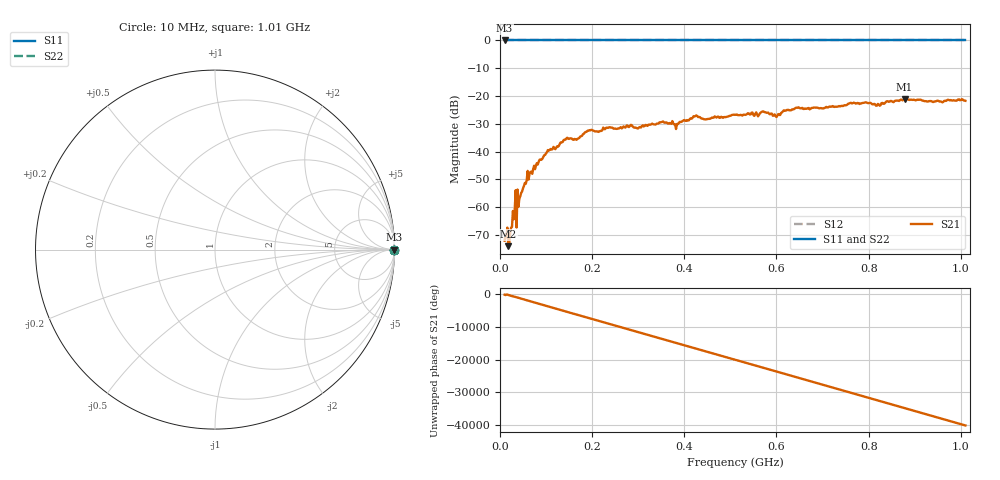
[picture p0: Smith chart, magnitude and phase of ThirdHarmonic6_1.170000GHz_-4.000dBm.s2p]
! 8/16/2025 11:49:46 AM
! C:\ANRITSUVNA\TEMP\TEMP.S2P
! CHANNEL.1
! TR.MEASUREMENT
! RAW.DATA
! RF.CORRECTION.OFF
! AVERAGING.OFF
! IF.BANDWIDTH: 5KHZ
! SWEEPTYPE:  FREQ.SWEEP(Linear)
! Reference Plane Port Info
! PORT:  PORT1  PORT2
! DISTANCE:  0  m  0  m
! TIME:  0  s  0  s
! PHASE.OFFSET:  0  deg.  0  deg.
! LOSS:  0  dB  0  dB
! REF.LOSS:  0  dB  0  dB
! REF.FREQ:  0  Hz  0  Hz
! Power Info
! POWER:  -20  dBm  -20  dBm
! EFF.POWER:  -20  dBm  -20  dBm
! SOURCE.ATTEN:  0  dB  0  dB
! TEST.ATTEN:  0  dB  0  dB
# GHZ S RI R 50.0
! FREQ.GHZ  S11RE  S11IM  S21RE  S21IM  S12RE  S12IM  S22RE  S22IM
!; PortSelection: Port_12
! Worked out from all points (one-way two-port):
!   501 points, 10 MHz to 1.01 GHz, reference 50 ohm
!   highest |S21| = -21.06 dB at 878 MHz (marker M1); lowest = -74.1 dB at 18 MHz (marker M2)
!   lowest |S11| = 0.0 dB at 10 MHz (marker M3)
!   |S11| at or under -10 dB: nowhere
!   |S22| runs from 0.0 to 0.0 dB; largest |S21 - S12| = 1.1
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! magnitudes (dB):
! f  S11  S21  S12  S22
! 10 MHz  0.0  -72.1  0.0  0.0
! 18 MHz  0.0  -74.1  0.0  0.0
! 22 MHz  0.0  -69.6  0.0  0.0
! 30 MHz  0.0  -64.4  0.0  0.0
! 40 MHz  0.0  -59.9  0.0  0.0
! 64 MHz  0.0  -48.0  0.0  0.0
! 106 MHz  0.0  -39.6  0.0  0.0
! 142 MHz  0.0  -35.7  0.0  0.0
! 178 MHz  0.0  -34.3  0.0  0.0
! 194 MHz  0.0  -32.3  0.0  0.0
! 344 MHz  0.0  -29.9  0.0  0.0
! 382 MHz  0.0  -31.9  0.0  0.0
! 424 MHz  0.0  -27.2  0.0  0.0
! 446 MHz  0.0  -28.4  0.0  0.0
! 510 MHz  0.0  -26.8  0.0  0.0
! 572 MHz  0.0  -25.6  0.0  0.0
! 598 MHz  0.0  -27.2  0.0  0.0
! 644 MHz  0.0  -24.2  0.0  0.0
! 678 MHz  0.0  -24.3  0.0  0.0
! 844 MHz  0.0  -22.1  0.0  0.0
! 878 MHz  0.0  -21.1  0.0  0.0
! 1.01 GHz  0.0  -21.7  0.0  0.0
